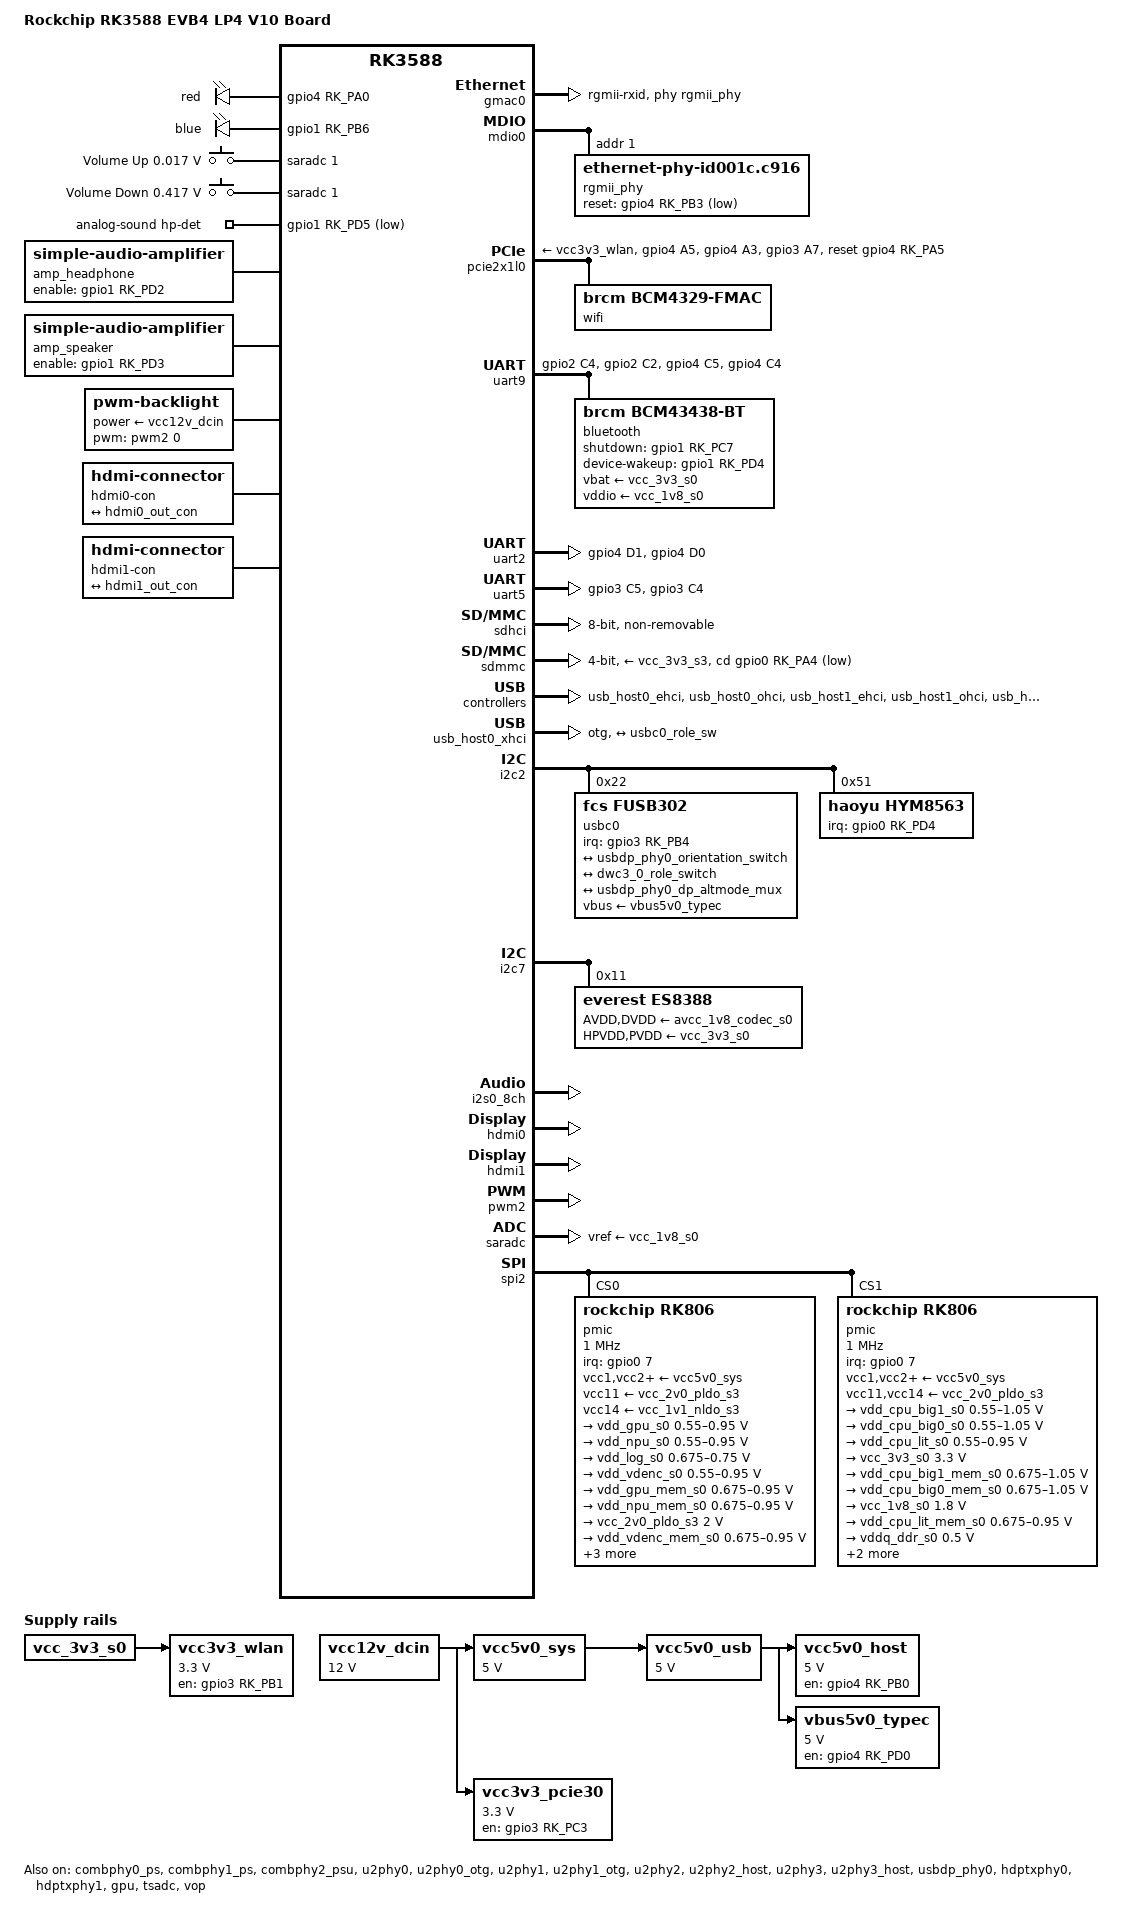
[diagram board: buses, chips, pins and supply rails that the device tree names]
// SPDX-License-Identifier: (GPL-2.0+ OR MIT)
/*
 * Device Tree for RK3588 Android Board
 * Voltage values verified from actual hardware
 */

/dts-v1/;

#include <dt-bindings/gpio/gpio.h>
#include <dt-bindings/input/input.h>
#include <dt-bindings/pinctrl/rockchip.h>
#include <dt-bindings/soc/rockchip,vop2.h>
#include <dt-bindings/usb/pd.h>
#include "rk3588.dtsi"

/ {
        model = "Rockchip RK3588 EVB4 LP4 V10 Board";
        compatible = "rockchip,rk3588-evb4-lp4-v10", "rockchip,rk3588";

        aliases {
                ethernet0 = &gmac0;
                mmc0 = &sdhci;
                mmc1 = &sdmmc;
                serial2 = &uart2;
                serial5 = &uart5;
                serial9 = &uart9;
        };

        chosen {
		bootargs = "root=/dev/mmcblk0p3  rootfstype=ext4 rw rootwait console=ttyS2,150000";
                stdout-path = "serial2:1500000n8";
        };

        memory {
                device_type = "memory";
                reg = <0x0 0x0 0x0 0x0>;
        };

        /* LEDs - 从Android DTS确认 */
        leds {
                compatible = "gpio-leds";
                pinctrl-names = "default";
                pinctrl-0 = <&red_led_pin &blue_led_pin>;

                red_led: led-0 {
                        label = "red";
                        default-state = "on";
                        gpios = <&gpio4 RK_PA0 GPIO_ACTIVE_HIGH>;
                };

                blue_led: led-1 {
                        label = "blue";
                        default-state = "on";
                        gpios = <&gpio1 RK_PB6 GPIO_ACTIVE_HIGH>;
                };
        };

        /* ADC按键 */
        adc-keys {
                compatible = "adc-keys";
                io-channels = <&saradc 1>;
                io-channel-names = "buttons";
                keyup-threshold-microvolt = <1800000>;
                poll-interval = <100>;

                button-vol-up {
                        label = "Volume Up";
                        linux,code = <KEY_VOLUMEUP>;
                        press-threshold-microvolt = <17000>;
                };

                button-vol-down {
                        label = "Volume Down";
                        linux,code = <KEY_VOLUMEDOWN>;
                        press-threshold-microvolt = <417000>;
                };
        };

        /* 音频 */
        analog-sound {
                compatible = "simple-audio-card";
                pinctrl-names = "default";
                pinctrl-0 = <&hp_detect>;
                simple-audio-card,name = "RK3588 Android Audio";
                simple-audio-card,aux-devs = <&amp_headphone>, <&amp_speaker>;
                simple-audio-card,bitclock-master = <&masterdai>;
                simple-audio-card,format = "i2s";
                simple-audio-card,frame-master = <&masterdai>;
                simple-audio-card,hp-det-gpios = <&gpio1 RK_PD5 GPIO_ACTIVE_LOW>;
                simple-audio-card,mclk-fs = <256>;
                simple-audio-card,pin-switches = "Headphones", "Speaker";
                simple-audio-card,routing =
                        "Speaker Amplifier INL", "LOUT2",
                        "Speaker Amplifier INR", "ROUT2",
                        "Speaker", "Speaker Amplifier OUTL",
                        "Speaker", "Speaker Amplifier OUTR",
                        "Headphones Amplifier INL", "LOUT1",
                        "Headphones Amplifier INR", "ROUT1",
                        "Headphones", "Headphones Amplifier OUTL",
                        "Headphones", "Headphones Amplifier OUTR",
                        "LINPUT1", "Onboard Microphone",
                        "RINPUT1", "Onboard Microphone",
                        "LINPUT2", "Microphone Jack",
                        "RINPUT2", "Microphone Jack";
                simple-audio-card,widgets =
                        "Microphone", "Microphone Jack",
                        "Microphone", "Onboard Microphone",
                        "Headphone", "Headphones",
                        "Speaker", "Speaker";

                simple-audio-card,cpu {
                        sound-dai = <&i2s0_8ch>;
                };

                masterdai: simple-audio-card,codec {
                        sound-dai = <&es8388>;
                        system-clock-frequency = <12288000>;
                };
        };

        amp_headphone: headphone-amplifier {
                compatible = "simple-audio-amplifier";
                enable-gpios = <&gpio1 RK_PD2 GPIO_ACTIVE_HIGH>;
                pinctrl-names = "default";
                pinctrl-0 = <&headphone_amplifier_en>;
                sound-name-prefix = "Headphones Amplifier";
        };

        amp_speaker: speaker-amplifier {
                compatible = "simple-audio-amplifier";
                enable-gpios = <&gpio1 RK_PD3 GPIO_ACTIVE_HIGH>;
                pinctrl-names = "default";
                pinctrl-0 = <&speaker_amplifier_en>;
                sound-name-prefix = "Speaker Amplifier";
        };

        backlight: backlight {
                compatible = "pwm-backlight";
                power-supply = <&vcc12v_dcin>;
                pwms = <&pwm2 0 25000 0>;
        };

        /* HDMI */
        hdmi0-con {
                compatible = "hdmi-connector";
                type = "a";
                port {
                        hdmi0_con_in: endpoint {
                                remote-endpoint = <&hdmi0_out_con>;
                        };
                };
        };

        hdmi1-con {
                compatible = "hdmi-connector";
                type = "a";
                port {
                        hdmi1_con_in: endpoint {
                                remote-endpoint = <&hdmi1_out_con>;
                        };
                };
        };

        /* Regulators - 使用从Android读取的实际值 */
        vcc12v_dcin: regulator-vcc12v-dcin {
                compatible = "regulator-fixed";
                regulator-name = "vcc12v_dcin";
                regulator-always-on;
                regulator-boot-on;
                regulator-min-microvolt = <12000000>;
                regulator-max-microvolt = <12000000>;
        };

        vcc5v0_sys: regulator-vcc5v0-sys {
                compatible = "regulator-fixed";
                regulator-name = "vcc5v0_sys";
                regulator-always-on;
                regulator-boot-on;
                regulator-min-microvolt = <5000000>;
                regulator-max-microvolt = <5000000>;
                vin-supply = <&vcc12v_dcin>;
        };

        vcc5v0_usb: regulator-vcc5v0-usb {
                compatible = "regulator-fixed";
                regulator-name = "vcc5v0_usb";
                regulator-always-on;
                regulator-boot-on;
                regulator-min-microvolt = <5000000>;
                regulator-max-microvolt = <5000000>;
                vin-supply = <&vcc5v0_sys>;
        };

        vcc5v0_host: regulator-vcc5v0-host {
                compatible = "regulator-fixed";
                regulator-name = "vcc5v0_host";
                regulator-always-on;
                regulator-boot-on;
                regulator-min-microvolt = <5000000>;
                regulator-max-microvolt = <5000000>;
                enable-active-high;
                gpio = <&gpio4 RK_PB0 GPIO_ACTIVE_HIGH>;
                pinctrl-names = "default";
                pinctrl-0 = <&vcc5v0_host_en>;
                vin-supply = <&vcc5v0_usb>;
        };

        vbus5v0_typec: regulator-vbus5v0-typec {
                compatible = "regulator-fixed";
                enable-active-high;
                gpio = <&gpio4 RK_PD0 GPIO_ACTIVE_HIGH>;
                pinctrl-names = "default";
                pinctrl-0 = <&typec5v_pwren>;
                regulator-name = "vbus5v0_typec";
                regulator-min-microvolt = <5000000>;
                regulator-max-microvolt = <5000000>;
                vin-supply = <&vcc5v0_usb>;
        };

        vcc3v3_wlan: regulator-vcc3v3-wlan {
                compatible = "regulator-fixed";
                enable-active-high;
                gpios = <&gpio3 RK_PB1 GPIO_ACTIVE_HIGH>;
                pinctrl-names = "default";
                pinctrl-0 = <&wifi_pwren>;
                regulator-min-microvolt = <3300000>;
                regulator-max-microvolt = <3300000>;
                regulator-name = "wlan-en";
                vin-supply = <&vcc_3v3_s0>;
        };

        vcc3v3_pcie30: regulator-vcc3v3-pcie30 {
                compatible = "regulator-fixed";
                regulator-name = "vcc3v3_pcie30";
                regulator-min-microvolt = <3300000>;
                regulator-max-microvolt = <3300000>;
                enable-active-high;
                gpios = <&gpio3 RK_PC3 GPIO_ACTIVE_HIGH>;
                startup-delay-us = <5000>;
                vin-supply = <&vcc12v_dcin>;
                pinctrl-names = "default";
                pinctrl-0 = <&vcc3v3_pcie30_en>;
        };
};

/* Combo PHYs */
&combphy0_ps { status = "okay"; };
&combphy1_ps { status = "okay"; };
&combphy2_psu { status = "okay"; };

/* CPU Regulators */
&cpu_b0 { cpu-supply = <&vdd_cpu_big0_s0>; };
&cpu_b1 { cpu-supply = <&vdd_cpu_big0_s0>; };
&cpu_b2 { cpu-supply = <&vdd_cpu_big1_s0>; };
&cpu_b3 { cpu-supply = <&vdd_cpu_big1_s0>; };
&cpu_l0 { cpu-supply = <&vdd_cpu_lit_s0>; };
&cpu_l1 { cpu-supply = <&vdd_cpu_lit_s0>; };
&cpu_l2 { cpu-supply = <&vdd_cpu_lit_s0>; };
&cpu_l3 { cpu-supply = <&vdd_cpu_lit_s0>; };

/* ==================== 以太网 (RTL8211F) ==================== */
&gmac0 {
        clock_in_out = "output";
        phy-handle = <&rgmii_phy>;
        phy-mode = "rgmii-rxid";
        pinctrl-names = "default";
        pinctrl-0 = <&gmac0_miim &gmac0_tx_bus2 &gmac0_rx_bus2 
                     &gmac0_rgmii_clk &gmac0_rgmii_bus>;
        rx_delay = <0x00>;
        tx_delay = <0x43>;
        status = "okay";
};

&mdio0 {
        rgmii_phy: ethernet-phy@1 {
                compatible = "ethernet-phy-id001c.c916";
                reg = <0x1>;
                pinctrl-names = "default";
                pinctrl-0 = <&rtl8211f_rst>;
                reset-assert-us = <20000>;
                reset-deassert-us = <100000>;
                reset-gpios = <&gpio4 RK_PB3 GPIO_ACTIVE_LOW>;
        };
};

/* ==================== WiFi (AP6275P - PCIe) ==================== */
&pcie2x1l0 {
        pinctrl-names = "default";
        pinctrl-0 = <&pcie2_0_rst>, <&pcie2_0_clkreq>, <&wifi_host_wake_irq>;
        reset-gpios = <&gpio4 RK_PA5 GPIO_ACTIVE_HIGH>;
        vpcie3v3-supply = <&vcc3v3_wlan>;
        status = "okay";

        pcie@0,0 {
                reg = <0x200000 0 0 0 0>;
                #address-cells = <3>;
                #size-cells = <2>;
                ranges;
                device_type = "pci";
                bus-range = <0x20 0x2f>;

                wifi: wifi@0,0 {
                        compatible = "brcm,bcm4329-fmac", "pci14e4,449d";
                        reg = <0x210000 0 0 0 0>;
                        clocks = <&hym8563>;
                        clock-names = "lpo";
                };
        };
};

/* ==================== 蓝牙 (UART9) ==================== */
&uart9 {
        pinctrl-names = "default";
        pinctrl-0 = <&uart9m0_xfer &uart9m0_ctsn &uart9m0_rtsn>;
        uart-has-rtscts;
        status = "okay";

        bluetooth {
                compatible = "brcm,bcm43438-bt";
                clocks = <&hym8563>;
                clock-names = "lpo";
                shutdown-gpios = <&gpio1 RK_PC7 GPIO_ACTIVE_HIGH>;
                device-wakeup-gpios = <&gpio1 RK_PD4 GPIO_ACTIVE_HIGH>;
                vbat-supply = <&vcc_3v3_s0>;
                vddio-supply = <&vcc_1v8_s0>;
        };
};

/* ==================== 串口 ==================== */
&uart2 {
        pinctrl-names = "default";
        pinctrl-0 = <&uart2m1_xfer>;
        status = "okay";
};

&uart5 {
        pinctrl-names = "default";
        pinctrl-0 = <&uart5m1_xfer>;
        status = "okay";
};

&uart4 {
        pinctrl-names = "default";
        pinctrl-0 = <&uart4m1_xfer>;
        status = "disabled";
};

/* ==================== eMMC ==================== */
&sdhci {
        bus-width = <8>;
        no-sdio;
        no-sd;
        non-removable;
        mmc-hs400-1_8v;
        mmc-hs400-enhanced-strobe;
        status = "okay";
};

/* ==================== SD卡 ==================== */
&sdmmc {
        status = "okay";
        pinctrl-names = "default";
        pinctrl-0 = <&sdmmc_clk &sdmmc_cmd &sdmmc_det &sdmmc_bus4>;
        bus-width = <4>;
        cap-sd-highspeed;
        sd-uhs-sdr104;
        cd-gpios = <&gpio0 RK_PA4 GPIO_ACTIVE_LOW>;
        vmmc-supply = <&vcc_3v3_s3>;
        vqmmc-supply = <&vccio_sd_s0>;
        disable-wp;
        no-mmc;
        no-sdio;
};

/* ==================== USB ==================== */
&usb_host0_ehci { status = "okay"; };
&usb_host0_ohci { status = "okay"; };
&usb_host1_ehci { status = "okay"; };
&usb_host1_ohci { status = "okay"; };
&usb_host1_xhci { status = "okay"; };

&u2phy0 { status = "okay"; };
&u2phy0_otg { status = "okay"; };
&u2phy1 { status = "okay"; };
&u2phy1_otg { status = "okay"; };
&u2phy2 { status = "okay"; };
&u2phy2_host { phy-supply = <&vcc5v0_host>; status = "okay"; };
&u2phy3 { status = "okay"; };
&u2phy3_host { phy-supply = <&vcc5v0_host>; status = "okay"; };

/* ==================== USB Type-C (OTG, USB 3.0 + DP) ==================== */
&usbdp_phy0 {
        mode-switch;
        orientation-switch;
        sbu1-dc-gpios = <&gpio4 RK_PA6 GPIO_ACTIVE_HIGH>;
        sbu2-dc-gpios = <&gpio4 RK_PA7 GPIO_ACTIVE_HIGH>;
        status = "okay";

        port {
                #address-cells = <1>;
                #size-cells = <0>;
                usbdp_phy0_orientation_switch: endpoint@0 {
                        reg = <0>;
                        remote-endpoint = <&usbc0_orien_sw>;
                };
                usbdp_phy0_dp_altmode_mux: endpoint@1 {
                        reg = <1>;
                        remote-endpoint = <&dp_altmode_mux>;
                };
        };
};

&usb_host0_xhci {
        dr_mode = "otg";
        usb-role-switch;
        status = "okay";

        port {
                dwc3_0_role_switch: endpoint {
                        remote-endpoint = <&usbc0_role_sw>;
                };
        };
};

&i2c2 {
        status = "okay";

        usbc0: usb-typec@22 {
                compatible = "fcs,fusb302";
                reg = <0x22>;
                interrupt-parent = <&gpio3>;
                interrupts = <RK_PB4 IRQ_TYPE_LEVEL_LOW>;
                pinctrl-names = "default";
                pinctrl-0 = <&usbc0_int>;
                vbus-supply = <&vbus5v0_typec>;
                status = "okay";

                usb_con: connector {
                        compatible = "usb-c-connector";
                        label = "USB-C";
                        data-role = "dual";
                        op-sink-microwatt = <1000000>;
                        power-role = "dual";
                        sink-pdos = <PDO_FIXED(5000, 1000, PDO_FIXED_USB_COMM)>;
                        source-pdos = <PDO_FIXED(5000, 3000, PDO_FIXED_USB_COMM)>;
                        try-power-role = "source";

                        ports {
                                #address-cells = <1>;
                                #size-cells = <0>;
                                port@0 {
                                        reg = <0>;
                                        usbc0_orien_sw: endpoint {
                                                remote-endpoint = <&usbdp_phy0_orientation_switch>;
                                        };
                                };
                                port@1 {
                                        reg = <1>;
                                        usbc0_role_sw: endpoint {
                                                remote-endpoint = <&dwc3_0_role_switch>;
                                        };
                                };
                                port@2 {
                                        reg = <2>;
                                        dp_altmode_mux: endpoint {
                                                remote-endpoint = <&usbdp_phy0_dp_altmode_mux>;
                                        };
                                };
                        };
                };
        };

        hym8563: rtc@51 {
                compatible = "haoyu,hym8563";
                reg = <0x51>;
                #clock-cells = <0>;
                clock-output-names = "hym8563";
                pinctrl-names = "default";
                pinctrl-0 = <&hym8563_int>;
                interrupt-parent = <&gpio0>;
                interrupts = <RK_PD4 IRQ_TYPE_LEVEL_LOW>;
                wakeup-source;
        };
};

/* ==================== 音频 ==================== */
&i2c7 {
        status = "okay";

        es8388: audio-codec@11 {
                compatible = "everest,es8388", "everest,es8328";
                reg = <0x11>;
                clocks = <&cru I2S0_8CH_MCLKOUT>;
                assigned-clocks = <&cru I2S0_8CH_MCLKOUT>;
                assigned-clock-rates = <12288000>;
                AVDD-supply = <&avcc_1v8_codec_s0>;
                DVDD-supply = <&avcc_1v8_codec_s0>;
                HPVDD-supply = <&vcc_3v3_s0>;
                PVDD-supply = <&vcc_3v3_s0>;
                #sound-dai-cells = <0>;
        };
};

&i2s0_8ch {
        pinctrl-0 = <&i2s0_lrck &i2s0_mclk &i2s0_sclk &i2s0_sdi0 &i2s0_sdo0>;
        status = "okay";
};

/* ==================== HDMI ==================== */
&hdmi0 { status = "okay"; };
&hdmi0_in { hdmi0_in_vp0: endpoint { remote-endpoint = <&vp0_out_hdmi0>; }; };
&hdmi0_out { hdmi0_out_con: endpoint { remote-endpoint = <&hdmi0_con_in>; }; };
&hdmi1 { status = "okay"; };
&hdmi1_in { hdmi1_in_vp1: endpoint { remote-endpoint = <&vp1_out_hdmi1>; }; };
&hdmi1_out { hdmi1_out_con: endpoint { remote-endpoint = <&hdmi1_con_in>; }; };
&hdptxphy0 { status = "okay"; };
&hdptxphy1 { status = "okay"; };

/* ==================== GPU ==================== */
&gpu {
        mali-supply = <&vdd_gpu_s0>;
        sram-supply = <&vdd_gpu_mem_s0>;
        status = "okay";
};

&pd_gpu { domain-supply = <&vdd_gpu_s0>; };
&pd_rkvdec0 { domain-supply = <&vdd_vdenc_s0>; };
&pd_rkvdec1 { domain-supply = <&vdd_vdenc_s0>; };
&pd_venc0 { domain-supply = <&vdd_vdenc_s0>; };
&pd_venc1 { domain-supply = <&vdd_vdenc_s0>; };

/* ==================== 其他 ==================== */
&pwm2 { status = "okay"; };
&saradc { vref-supply = <&vcc_1v8_s0>; status = "okay"; };
&tsadc { status = "okay"; };
&vop { status = "okay"; };
&vop_mmu { status = "okay"; };

&vp0 {
        vp0_out_hdmi0: endpoint@ROCKCHIP_VOP2_EP_HDMI0 {
                reg = <ROCKCHIP_VOP2_EP_HDMI0>;
                remote-endpoint = <&hdmi0_in_vp0>;
        };
};

&vp1 {
        vp1_out_hdmi1: endpoint@ROCKCHIP_VOP2_EP_HDMI1 {
                reg = <ROCKCHIP_VOP2_EP_HDMI1>;
                remote-endpoint = <&hdmi1_in_vp1>;
        };
};

/* 禁用未使用设备 */
&pcie2x1l1 { status = "disabled"; };
&pcie3x4 { status = "disabled"; };

/* ==================== PMIC (SPI2) ==================== */
&spi2 {
        status = "okay";
        assigned-clocks = <&cru CLK_SPI2>;
        assigned-clock-rates = <200000000>;
        num-cs = <2>;

        pmic@0 {
                compatible = "rockchip,rk806";
                reg = <0x0>;
                #gpio-cells = <2>;
                gpio-controller;
                interrupt-parent = <&gpio0>;
                interrupts = <7 IRQ_TYPE_LEVEL_LOW>;
                pinctrl-0 = <&pmic_pins>, <&rk806_dvs1_null>,
                            <&rk806_dvs2_null>, <&rk806_dvs3_null>;
                pinctrl-names = "default";
                spi-max-frequency = <1000000>;
                system-power-controller;

                vcc1-supply = <&vcc5v0_sys>;
                vcc2-supply = <&vcc5v0_sys>;
                vcc3-supply = <&vcc5v0_sys>;
                vcc4-supply = <&vcc5v0_sys>;
                vcc5-supply = <&vcc5v0_sys>;
                vcc6-supply = <&vcc5v0_sys>;
                vcc7-supply = <&vcc5v0_sys>;
                vcc8-supply = <&vcc5v0_sys>;
                vcc9-supply = <&vcc5v0_sys>;
                vcc10-supply = <&vcc5v0_sys>;
                vcc11-supply = <&vcc_2v0_pldo_s3>;
                vcc12-supply = <&vcc5v0_sys>;
                vcc13-supply = <&vcc5v0_sys>;
                vcc14-supply = <&vcc_1v1_nldo_s3>;
                vcca-supply = <&vcc5v0_sys>;

                rk806_dvs1_null: dvs1-null-pins {
                        pins = "gpio_pwrctrl1";
                        function = "pin_fun0";
                };

                rk806_dvs2_null: dvs2-null-pins {
                        pins = "gpio_pwrctrl2";
                        function = "pin_fun0";
                };

                rk806_dvs3_null: dvs3-null-pins {
                        pins = "gpio_pwrctrl3";
                        function = "pin_fun0";
                };

                regulators {
                        /* ===== GPU ===== */
                        vdd_gpu_s0: dcdc-reg1 {
                                regulator-always-on;
                                regulator-boot-on;
                                regulator-min-microvolt = <550000>;
                                regulator-max-microvolt = <950000>;
                                regulator-init-microvolt = <675000>;
                                regulator-ramp-delay = <12500>;
                                regulator-name = "vdd_gpu_s0";
                                regulator-enable-ramp-delay = <400>;
                                regulator-coupled-with = <&vdd_gpu_mem_s0>;
                                regulator-coupled-max-spread = <10000>;
                                regulator-state-mem {
                                        regulator-off-in-suspend;
                                };
                        };

                        /* ===== NPU ===== */
                        vdd_npu_s0: dcdc-reg2 {
                                regulator-always-on;
                                regulator-boot-on;
                                regulator-min-microvolt = <550000>;
                                regulator-max-microvolt = <950000>;
                                regulator-init-microvolt = <675000>;
                                regulator-ramp-delay = <12500>;
                                regulator-name = "vdd_npu_s0";
                                regulator-state-mem {
                                        regulator-off-in-suspend;
                                };
                        };

                        /* ===== LOG ===== */
                        vdd_log_s0: dcdc-reg3 {
                                regulator-always-on;
                                regulator-boot-on;
                                regulator-min-microvolt = <675000>;
                                regulator-max-microvolt = <750000>;
                                regulator-init-microvolt = <750000>;
                                regulator-ramp-delay = <12500>;
                                regulator-name = "vdd_log_s0";
                                regulator-state-mem {
                                        regulator-off-in-suspend;
                                        regulator-suspend-microvolt = <750000>;
                                };
                        };

                        /* ===== VDEC ===== */
                        vdd_vdenc_s0: dcdc-reg4 {
                                regulator-always-on;
                                regulator-boot-on;
                                regulator-min-microvolt = <550000>;
                                regulator-max-microvolt = <950000>;
                                regulator-init-microvolt = <750000>;
                                regulator-ramp-delay = <12500>;
                                regulator-name = "vdd_vdenc_s0";
                                regulator-state-mem {
                                        regulator-off-in-suspend;
                                };
                        };

                        /* ===== GPU MEM ===== */
                        vdd_gpu_mem_s0: dcdc-reg5 {
                                regulator-always-on;
                                regulator-boot-on;
                                regulator-min-microvolt = <675000>;
                                regulator-max-microvolt = <950000>;
                                regulator-init-microvolt = <675000>;
                                regulator-ramp-delay = <12500>;
                                regulator-enable-ramp-delay = <400>;
                                regulator-name = "vdd_gpu_mem_s0";
                                regulator-coupled-with = <&vdd_gpu_s0>;
                                regulator-coupled-max-spread = <10000>;
                                regulator-state-mem {
                                        regulator-off-in-suspend;
                                };
                        };

                        /* ===== NPU MEM ===== */
                        vdd_npu_mem_s0: dcdc-reg6 {
                                regulator-always-on;
                                regulator-boot-on;
                                regulator-min-microvolt = <675000>;
                                regulator-max-microvolt = <950000>;
                                regulator-init-microvolt = <675000>;
                                regulator-ramp-delay = <12500>;
                                regulator-name = "vdd_npu_mem_s0";
                                regulator-state-mem {
                                        regulator-off-in-suspend;
                                };
                        };

                        /* ===== 2V0 ===== */
                        vcc_2v0_pldo_s3: dcdc-reg7 {
                                regulator-always-on;
                                regulator-boot-on;
                                regulator-min-microvolt = <2000000>;
                                regulator-max-microvolt = <2000000>;
                                regulator-ramp-delay = <12500>;
                                regulator-name = "vcc_2v0_pldo_s3";
                                regulator-state-mem {
                                        regulator-on-in-suspend;
                                        regulator-suspend-microvolt = <2000000>;
                                };
                        };

                        /* ===== VDEC MEM ===== */
                        vdd_vdenc_mem_s0: dcdc-reg8 {
                                regulator-always-on;
                                regulator-boot-on;
                                regulator-min-microvolt = <675000>;
                                regulator-max-microvolt = <950000>;
                                regulator-init-microvolt = <750000>;
                                regulator-ramp-delay = <12500>;
                                regulator-name = "vdd_vdenc_mem_s0";
                                regulator-state-mem {
                                        regulator-off-in-suspend;
                                };
                        };

                        /* ===== DDR2 ===== */
                        vdd2_ddr_s3: dcdc-reg9 {
                                regulator-always-on;
                                regulator-boot-on;
                                regulator-name = "vdd2_ddr_s3";
                                regulator-state-mem {
                                        regulator-on-in-suspend;
                                };
                        };

                        /* ===== 1V1 ===== */
                        vcc_1v1_nldo_s3: dcdc-reg10 {
                                regulator-always-on;
                                regulator-boot-on;
                                regulator-min-microvolt = <1100000>;
                                regulator-max-microvolt = <1100000>;
                                regulator-ramp-delay = <12500>;
                                regulator-name = "vcc_1v1_nldo_s3";
                                regulator-state-mem {
                                        regulator-on-in-suspend;
                                        regulator-suspend-microvolt = <1100000>;
                                };
                        };

                        /* ===== AVCC 1V8 ===== */
                        avcc_1v8_s0: pldo-reg1 {
                                regulator-always-on;
                                regulator-boot-on;
                                regulator-min-microvolt = <1800000>;
                                regulator-max-microvolt = <1800000>;
                                regulator-ramp-delay = <12500>;
                                regulator-name = "avcc_1v8_s0";
                                regulator-state-mem {
                                        regulator-off-in-suspend;
                                };
                        };

                        /* ===== DDR 1V8 ===== */
                        vdd1_1v8_ddr_s3: pldo-reg2 {
                                regulator-always-on;
                                regulator-boot-on;
                                regulator-min-microvolt = <1800000>;
                                regulator-max-microvolt = <1800000>;
                                regulator-ramp-delay = <12500>;
                                regulator-name = "vdd1_1v8_ddr_s3";
                                regulator-state-mem {
                                        regulator-on-in-suspend;
                                        regulator-suspend-microvolt = <1800000>;
                                };
                        };

                        /* ===== AVCC CODEC ===== */
                        avcc_1v8_codec_s0: pldo-reg3 {
                                regulator-always-on;
                                regulator-boot-on;
                                regulator-min-microvolt = <1800000>;
                                regulator-max-microvolt = <1800000>;
                                regulator-ramp-delay = <12500>;
                                regulator-name = "avcc_1v8_codec_s0";
                                regulator-state-mem {
                                        regulator-off-in-suspend;
                                };
                        };

                        /* ===== 3V3 S3 ===== */
                        vcc_3v3_s3: pldo-reg4 {
                                regulator-always-on;
                                regulator-boot-on;
                                regulator-min-microvolt = <3300000>;
                                regulator-max-microvolt = <3300000>;
                                regulator-ramp-delay = <12500>;
                                regulator-name = "vcc_3v3_s3";
                                regulator-state-mem {
                                        regulator-on-in-suspend;
                                        regulator-suspend-microvolt = <3300000>;
                                };
                        };

                        /* ===== SD IO ===== */
                        vccio_sd_s0: pldo-reg5 {
                                regulator-always-on;
                                regulator-boot-on;
                                regulator-min-microvolt = <1800000>;
                                regulator-max-microvolt = <3300000>;
                                regulator-ramp-delay = <12500>;
                                regulator-name = "vccio_sd_s0";
                                regulator-state-mem {
                                        regulator-off-in-suspend;
                                };
                        };

                        /* ===== 1V8 S3 ===== */
                        vccio_1v8_s3: pldo-reg6 {
                                regulator-always-on;
                                regulator-boot-on;
                                regulator-min-microvolt = <1800000>;
                                regulator-max-microvolt = <1800000>;
                                regulator-ramp-delay = <12500>;
                                regulator-name = "vccio_1v8_s3";
                                regulator-state-mem {
                                        regulator-on-in-suspend;
                                        regulator-suspend-microvolt = <1800000>;
                                };
                        };

                        /* ===== 0V75 S3 ===== */
                        vdd_0v75_s3: nldo-reg1 {
                                regulator-always-on;
                                regulator-boot-on;
                                regulator-min-microvolt = <750000>;
                                regulator-max-microvolt = <750000>;
                                regulator-ramp-delay = <12500>;
                                regulator-name = "vdd_0v75_s3";
                                regulator-state-mem {
                                        regulator-on-in-suspend;
                                        regulator-suspend-microvolt = <750000>;
                                };
                        };

                        /* ===== 0V9 DDR ===== */
                        vdd2l_0v9_ddr_s3: nldo-reg2 {
                                regulator-always-on;
                                regulator-boot-on;
                                regulator-min-microvolt = <900000>;
                                regulator-max-microvolt = <900000>;
                                regulator-name = "vdd2l_0v9_ddr_s3";
                                regulator-state-mem {
                                        regulator-on-in-suspend;
                                        regulator-suspend-microvolt = <900000>;
                                };
                        };

                        /* ===== 0V75 AVDD ===== */
                        avdd_0v75_s0: nldo-reg4 {
                                regulator-always-on;
                                regulator-boot-on;
                                regulator-min-microvolt = <750000>;
                                regulator-max-microvolt = <750000>;
                                regulator-name = "avdd_0v75_s0";
                                regulator-state-mem {
                                        regulator-off-in-suspend;
                                };
                        };

                        /* ===== 0V85 ===== */
                        vdd_0v85_s0: nldo-reg5 {
                                regulator-always-on;
                                regulator-boot-on;
                                regulator-min-microvolt = <850000>;
                                regulator-max-microvolt = <850000>;
                                regulator-name = "vdd_0v85_s0";
                                regulator-state-mem {
                                        regulator-off-in-suspend;
                                };
                        };
                };
        };

        /* Slave PMIC */
        pmic@1 {
                compatible = "rockchip,rk806";
                reg = <0x01>;
                #gpio-cells = <2>;
                gpio-controller;
                interrupt-parent = <&gpio0>;
                interrupts = <7 IRQ_TYPE_LEVEL_LOW>;
                pinctrl-0 = <&rk806_slave_dvs1_null>, <&rk806_slave_dvs2_null>,
                            <&rk806_slave_dvs3_null>;
                pinctrl-names = "default";
                spi-max-frequency = <1000000>;

                vcc1-supply = <&vcc5v0_sys>;
                vcc2-supply = <&vcc5v0_sys>;
                vcc3-supply = <&vcc5v0_sys>;
                vcc4-supply = <&vcc5v0_sys>;
                vcc5-supply = <&vcc5v0_sys>;
                vcc6-supply = <&vcc5v0_sys>;
                vcc7-supply = <&vcc5v0_sys>;
                vcc8-supply = <&vcc5v0_sys>;
                vcc9-supply = <&vcc5v0_sys>;
                vcc10-supply = <&vcc5v0_sys>;
                vcc11-supply = <&vcc_2v0_pldo_s3>;
                vcc12-supply = <&vcc5v0_sys>;
                vcc13-supply = <&vcc5v0_sys>;
                vcc14-supply = <&vcc_2v0_pldo_s3>;
                vcca-supply = <&vcc5v0_sys>;

                rk806_slave_dvs1_null: dvs1-null-pins {
                        pins = "gpio_pwrctrl1";
                        function = "pin_fun0";
                };

                rk806_slave_dvs2_null: dvs2-null-pins {
                        pins = "gpio_pwrctrl2";
                        function = "pin_fun0";
                };

                rk806_slave_dvs3_null: dvs3-null-pins {
                        pins = "gpio_pwrctrl3";
                        function = "pin_fun0";
                };

                regulators {
                        /* ===== CPU BIG1 ===== */
                        vdd_cpu_big1_s0: dcdc-reg1 {
                                regulator-always-on;
                                regulator-boot-on;
                                regulator-coupled-with = <&vdd_cpu_big1_mem_s0>;
                                regulator-coupled-max-spread = <10000>;
                                regulator-min-microvolt = <550000>;
                                regulator-max-microvolt = <1050000>;
                                regulator-init-microvolt = <675000>;
                                regulator-ramp-delay = <12500>;
                                regulator-name = "vdd_cpu_big1_s0";
                                regulator-state-mem {
                                        regulator-off-in-suspend;
                                };
                        };

                        /* ===== CPU BIG0 ===== */
                        vdd_cpu_big0_s0: dcdc-reg2 {
                                regulator-always-on;
                                regulator-boot-on;
                                regulator-coupled-with = <&vdd_cpu_big0_mem_s0>;
                                regulator-coupled-max-spread = <10000>;
                                regulator-min-microvolt = <550000>;
                                regulator-max-microvolt = <1050000>;
                                regulator-init-microvolt = <675000>;
                                regulator-ramp-delay = <12500>;
                                regulator-name = "vdd_cpu_big0_s0";
                                regulator-state-mem {
                                        regulator-off-in-suspend;
                                };
                        };

                        /* ===== CPU LIT ===== */
                        vdd_cpu_lit_s0: dcdc-reg3 {
                                regulator-always-on;
                                regulator-boot-on;
                                regulator-coupled-with = <&vdd_cpu_lit_mem_s0>;
                                regulator-coupled-max-spread = <10000>;
                                regulator-min-microvolt = <550000>;
                                regulator-max-microvolt = <950000>;
                                regulator-init-microvolt = <800000>;
                                regulator-ramp-delay = <12500>;
                                regulator-name = "vdd_cpu_lit_s0";
                                regulator-state-mem {
                                        regulator-off-in-suspend;
                                };
                        };

                        /* ===== 3V3 S0 ===== */
                        vcc_3v3_s0: dcdc-reg4 {
                                regulator-always-on;
                                regulator-boot-on;
                                regulator-min-microvolt = <3300000>;
                                regulator-max-microvolt = <3300000>;
                                regulator-ramp-delay = <12500>;
                                regulator-name = "vcc_3v3_s0";
                                regulator-state-mem {
                                        regulator-off-in-suspend;
                                };
                        };

                        /* ===== CPU BIG1 MEM ===== */
                        vdd_cpu_big1_mem_s0: dcdc-reg5 {
                                regulator-always-on;
                                regulator-boot-on;
                                regulator-coupled-with = <&vdd_cpu_big1_s0>;
                                regulator-coupled-max-spread = <10000>;
                                regulator-min-microvolt = <675000>;
                                regulator-max-microvolt = <1050000>;
                                regulator-init-microvolt = <675000>;
                                regulator-ramp-delay = <12500>;
                                regulator-name = "vdd_cpu_big1_mem_s0";
                                regulator-state-mem {
                                        regulator-off-in-suspend;
                                };
                        };

                        /* ===== CPU BIG0 MEM ===== */
                        vdd_cpu_big0_mem_s0: dcdc-reg6 {
                                regulator-always-on;
                                regulator-boot-on;
                                regulator-coupled-with = <&vdd_cpu_big0_s0>;
                                regulator-coupled-max-spread = <10000>;
                                regulator-min-microvolt = <675000>;
                                regulator-max-microvolt = <1050000>;
                                regulator-init-microvolt = <675000>;
                                regulator-ramp-delay = <12500>;
                                regulator-name = "vdd_cpu_big0_mem_s0";
                                regulator-state-mem {
                                        regulator-off-in-suspend;
                                };
                        };

                        /* ===== 1V8 S0 ===== */
                        vcc_1v8_s0: dcdc-reg7 {
                                regulator-always-on;
                                regulator-boot-on;
                                regulator-min-microvolt = <1800000>;
                                regulator-max-microvolt = <1800000>;
                                regulator-ramp-delay = <12500>;
                                regulator-name = "vcc_1v8_s0";
                                regulator-state-mem {
                                        regulator-off-in-suspend;
                                };
                        };

                        /* ===== CPU LIT MEM ===== */
                        vdd_cpu_lit_mem_s0: dcdc-reg8 {
                                regulator-always-on;
                                regulator-boot-on;
                                regulator-coupled-with = <&vdd_cpu_lit_s0>;
                                regulator-coupled-max-spread = <10000>;
                                regulator-min-microvolt = <675000>;
                                regulator-max-microvolt = <950000>;
                                regulator-init-microvolt = <800000>;
                                regulator-ramp-delay = <12500>;
                                regulator-name = "vdd_cpu_lit_mem_s0";
                                regulator-state-mem {
                                        regulator-off-in-suspend;
                                };
                        };

                        /* ===== DDR Q ===== */
                        vddq_ddr_s0: dcdc-reg9 {
                                regulator-always-on;
                                regulator-boot-on;
                                regulator-min-microvolt = <500000>;
                                regulator-max-microvolt = <500000>;
                                regulator-name = "vddq_ddr_s0";
                                regulator-state-mem {
                                        regulator-off-in-suspend;
                                };
                        };

                        /* ===== DDR ===== */
                        vdd_ddr_s0: dcdc-reg10 {
                                regulator-always-on;
                                regulator-boot-on;
                                regulator-min-microvolt = <675000>;
                                regulator-max-microvolt = <900000>;
                                regulator-init-microvolt = <850000>;
                                regulator-ramp-delay = <12500>;
                                regulator-name = "vdd_ddr_s0";
                                regulator-state-mem {
                                        regulator-off-in-suspend;
                                };
                        };

                        /* ===== PLDO6 S3 ===== */
                        pldo6_s3: pldo-reg6 {
                                regulator-always-on;
                                regulator-boot-on;
                                regulator-min-microvolt = <1800000>;
                                regulator-max-microvolt = <1800000>;
                                regulator-name = "pldo6_s3";
                                regulator-state-mem {
                                        regulator-on-in-suspend;
                                        regulator-suspend-microvolt = <1800000>;
                                };
                        };
                };
        };
};

/* ==================== Pin Control ==================== */
&pinctrl {
        /* 音频 */
        audio {
                hp_detect: headphone-detect {
                        rockchip,pins = <1 RK_PD5 RK_FUNC_GPIO &pcfg_pull_none>;
                };
                headphone_amplifier_en: headphone-amplifier-en {
                        rockchip,pins = <1 RK_PD2 RK_FUNC_GPIO &pcfg_pull_none>;
                };
                speaker_amplifier_en: speaker-amplifier-en {
                        rockchip,pins = <1 RK_PD3 RK_FUNC_GPIO &pcfg_pull_none>;
                };
        };

        /* LEDs */
        leds {
                red_led_pin: red-led-pin {
                        rockchip,pins = <4 RK_PA0 RK_FUNC_GPIO &pcfg_pull_none>;
                };
                blue_led_pin: blue-led-pin {
                        rockchip,pins = <1 RK_PB6 RK_FUNC_GPIO &pcfg_pull_none>;
                };
        };

        /* Ethernet */
        rtl8211f {
                rtl8211f_rst: rtl8211f-rst {
                        rockchip,pins = <4 RK_PB3 RK_FUNC_GPIO &pcfg_pull_none>;
                };
        };

        /* RTC */
        hym8563 {
                hym8563_int: hym8563-int {
                        rockchip,pins = <0 RK_PD4 RK_FUNC_GPIO &pcfg_pull_up>;
                };
        };

        /* UART2 */
        uart2 {
                uart2m1_xfer: uart2m1-xfer {
                        rockchip,pins = <4 RK_PD1 RK_FUNC_GPIO &pcfg_pull_up>,
                                        <4 RK_PD0 RK_FUNC_GPIO &pcfg_pull_up>;
                };
        };

        /* UART5 */
        uart5 {
                uart5m1_xfer: uart5m1-xfer {
                        rockchip,pins = <3 RK_PC5 RK_FUNC_GPIO &pcfg_pull_up>,
                                        <3 RK_PC4 RK_FUNC_GPIO &pcfg_pull_up>;
                };
        };

        /* UART9 - Bluetooth */
        uart9 {
                uart9m0_xfer: uart9m0-xfer {
                        rockchip,pins = <2 RK_PC4 RK_FUNC_GPIO &pcfg_pull_up>,
                                        <2 RK_PC2 RK_FUNC_GPIO &pcfg_pull_up>;
                };
                uart9m0_ctsn: uart9m0-ctsn {
                        rockchip,pins = <4 RK_PC5 RK_FUNC_GPIO &pcfg_pull_none>;
                };
                uart9m0_rtsn: uart9m0-rtsn {
                        rockchip,pins = <4 RK_PC4 RK_FUNC_GPIO &pcfg_pull_none>;
                };
        };

        /* PCIe */
        pcie2 {
                pcie2_0_rst: pcie2-0-rst {
                        rockchip,pins = <4 RK_PA5 RK_FUNC_GPIO &pcfg_pull_none>;
                };
                pcie2_0_clkreq: pcie2-0-clkreq {
                        rockchip,pins = <4 RK_PA3 4 &pcfg_pull_none>;
                };
        };

        /* PCIe3 */
        pcie3 {
                vcc3v3_pcie30_en: vcc3v3-pcie30-en {
                        rockchip,pins = <3 RK_PC3 RK_FUNC_GPIO &pcfg_pull_none>;
                };
        };

        /* USB */
        usb {
                vcc5v0_host_en: vcc5v0-host-en {
                        rockchip,pins = <4 RK_PB0 RK_FUNC_GPIO &pcfg_pull_none>;
                };
        };

        /* USB Type-C */
        usb-typec {
                typec5v_pwren: typec5v-pwren {
                        rockchip,pins = <4 RK_PD0 RK_FUNC_GPIO &pcfg_pull_none>;
                };
                usbc0_int: usbc0-int {
                        rockchip,pins = <3 RK_PB4 RK_FUNC_GPIO &pcfg_pull_up>;
                };
        };

        /* WiFi */
        wlan {
                wifi_host_wake_irq: wifi-host-wake-irq {
                        rockchip,pins = <3 RK_PA7 RK_FUNC_GPIO &pcfg_pull_down>;
                };
                wifi_pwren: wifi-pwren {
                        rockchip,pins = <3 RK_PB1 RK_FUNC_GPIO &pcfg_pull_up>;
                };
        };
};
